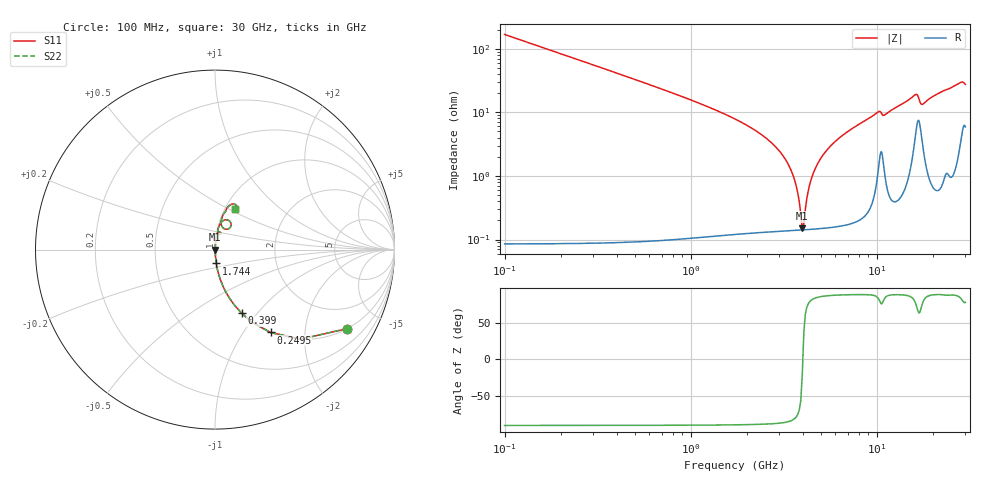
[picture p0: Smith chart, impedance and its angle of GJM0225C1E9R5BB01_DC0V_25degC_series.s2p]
!Murata Part Number: GJM0225C1E9R5BB01
!These Parameters are Measured in Series Mode Connection
!  o--ll--o
!Port1  Port2
!  o------o
!Operation Temp=25[degC], DC Bias Voltage=0[V]
!Freq. Start=100[MHz] Stop=30[GHz], 401[Steps]
!Data Generated on Feb 1, 2023
# Hz S RI R 50
!Freq.(Hz) S11(Real) S11(Imag) S21(Real) S21(Imag) S12(Real) S12(Imag) S22(Real) S22(Imag)
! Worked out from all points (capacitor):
!   401 points, 100 MHz to 30 GHz, reference 50 ohm
!   read as one part in series: C = 9.5 pF near 249.5 MHz
!   lowest |Z| = 149 mohm at 3.987 GHz (marker M1)
!   series resonance near 4.01 GHz, so ESL is about 170 pH
!   S11 on the Smith chart (normalised r, x): 100 MHz: 1.00, -3.35; 249.5 MHz: 1.00, -1.34; 399 MHz: 1.00, -0.83; 1.744 GHz: 1.00, -0.16; 30 GHz: 1.12, +0.54
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1e8  0.7369 -0.44  0.2631 0.44  0.2631 0.44  0.7369 -0.44
2.495e8  0.3093 -0.4615  0.6907 0.4615  0.6907 0.4615  0.3093 -0.4615
3.99e8  0.1478 -0.3539  0.8522 0.3539  0.8522 0.3539  0.1478 -0.3539
9.2225e8  0.0296 -0.1666  0.9704 0.1666  0.9704 0.1666  0.0296 -0.1666
1.7445e9  0.00719 -0.0771  0.9928 0.0771  0.9928 0.0771  0.00719 -0.0771
2.71625e9  0.00243 -0.0332  0.9976 0.0332  0.9976 0.0332  0.00243 -0.0332
3.31425e9  0.00162 -0.016  0.9984 0.016  0.9984 0.016  0.00162 -0.016
3.61325e9  0.00146 -0.00869  0.9985 0.00869  0.9985 0.00869  0.00146 -0.00869
3.987e9  0.00141 -0.000469  0.9986 0.000469  0.9986 0.000469  0.00141 -0.000469
4.1365e9  0.00143 0.00261  0.9986 -0.00261  0.9986 -0.00261  0.00143 0.00261
4.286e9  0.00147 0.00558  0.9985 -0.00558  0.9985 -0.00558  0.00147 0.00558
4.51025e9  0.00155 0.00986  0.9985 -0.00986  0.9985 -0.00986  0.00155 0.00986
5.10825e9  0.00191 0.0205  0.9981 -0.0205  0.9981 -0.0205  0.00191 0.0205
6.75275e9  0.0038 0.046  0.9962 -0.046  0.9962 -0.046  0.0038 0.046
1.01165e10  0.0195 0.0967  0.9805 -0.0967  0.9805 -0.0967  0.0195 0.0967
1.093875e10  0.0209 0.0856  0.9791 -0.0856  0.9791 -0.0856  0.0209 0.0856
1.505e10  0.0356 0.1533  0.9644 -0.1533  0.9644 -0.1533  0.0356 0.1533
1.632075e10  0.0786 0.1611  0.9214 -0.1611  0.9214 -0.1611  0.0786 0.1611
1.751675e10  0.0501 0.117  0.9499 -0.117  0.9499 -0.117  0.0501 0.117
2.005825e10  0.0364 0.1696  0.9636 -0.1696  0.9636 -0.1696  0.0364 0.1696
2.50665e10  0.0634 0.2249  0.9366 -0.2249  0.9366 -0.2249  0.0634 0.2249
3e10  0.1126 0.2251  0.8874 -0.2251  0.8874 -0.2251  0.1126 0.2251
